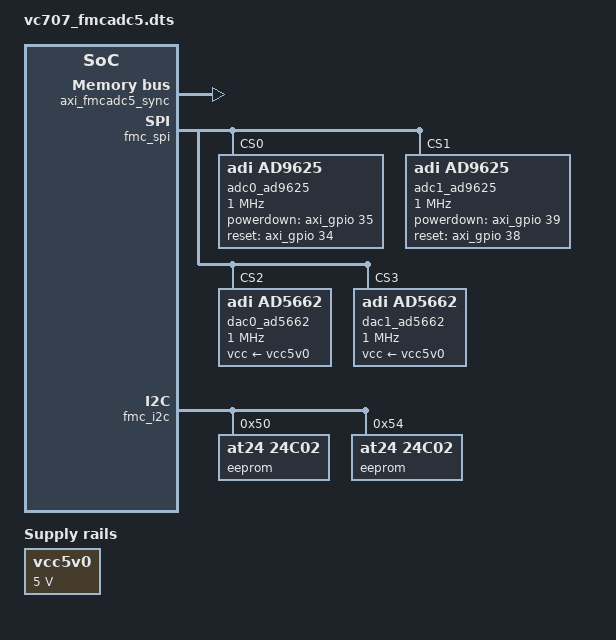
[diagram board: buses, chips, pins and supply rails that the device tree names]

/dts-v1/;
#include "vc707.dtsi"

#define fmc_i2c fmc1_hpc_iic
#define fmc_spi axi_spi

/ {
	clocks {
		ad9625_clkin: clock@0 {
			#clock-cells = <0>;
			compatible = "fixed-clock";
			clock-frequency = <2500000000>;
			clock-output-names = "clkin";
		};

		ad9625_divclk: clock@1 {
			compatible = "fixed-factor-clock";

			clocks = <&ad9625_clkin>;
			clock-div = <4>;
			clock-mult = <1>;

			#clock-cells = <0>;
			clock-output-names = "divclk";
		};
	};

	vcc5v0: fixedregulator@0 {
		compatible = "regulator-fixed";
		regulator-name = "fixed-5.0V";
		regulator-min-microvolt = <5000000>;
		regulator-max-microvolt = <5000000>;
		regulator-boot-on;
		regulator-always-on;
	};
};

&amba_pl {
	axi_fmcadc5_sync: axi-fmcadc5-sync@44a20000 {
		compatible = "adi,axi-fmcadc5-sync-1.0";
		reg = <0x44a20000 0x10000>;
		adi,ad9625-device-select-0 = <1>;
		adi,ad9625-device-select-1 = <2>;
	};
	axi_ad9625_0_core: axi-ad9625-0@44a10000 {
		compatible = "adi,axi-ad9625-1.0";
		reg = <0x44a10000 0x10000>;
		dmas = <&axi_ad9625_dma 0>;
		dma-names = "rx";
		spibus-connected = <&adc0_ad9625>;
	};
	axi_ad9625_0_jesd: axi-jesd204-0-rx@44a90000 {
		compatible = "adi,axi-jesd204-rx-1.0";
		reg = <0x44a90000 0x10000>;
		interrupt-parent = <&axi_intc>;
		interrupts = <13 2>;
		clocks = <&clk_bus_0>, <&axi_ad9625_0_adxcvr 1>, <&axi_ad9625_0_adxcvr 0>;
		clock-names = "s_axi_aclk", "device_clk", "lane_clk";

		adi,octets-per-frame = <1>;
		adi,frames-per-multiframe = <32>;
		adi,high-density = <1>;

		#clock-cells = <0>;
		clock-output-names = "jesd_adc_lane_clk_0";
	};
	axi_ad9625_0_adxcvr: axi-ad9625-0-adxcvr@44a60000 {
		compatible = "adi,axi-adxcvr-1.0";
		reg = <0x44a60000 0x10000>;
		clocks = <&ad9625_divclk>;
		clock-names = "conv";

		#clock-cells = <1>;
		clock-output-names = "ad50_gt_clk", "rx_out0_clk";

		adi,sys-clk-select = <0>;
		adi,out-clk-select = <2>;
		adi,use-cpll-enable;
		adi,use-lpm-enable;
	};
	axi_ad9625_1_core: axi-ad9625-1@44b10000 {
		compatible = "adi,axi-ad9625-1.0";
		reg = <0x44b10000 0x10000>;
		spibus-connected = <&adc1_ad9625>;
	};
	axi_ad9625_1_jesd: axi-jesd204-1-rx@44b90000 {
		compatible = "adi,axi-jesd204-rx-1.0";
		reg = <0x44b90000 0x10000>;
		interrupt-parent = <&axi_intc>;
		interrupts = <14 2>;
		clocks = <&clk_bus_0>, <&axi_ad9625_1_adxcvr 1>, <&axi_ad9625_1_adxcvr 0>;
		clock-names = "s_axi_aclk", "device_clk", "lane_clk";

		adi,octets-per-frame = <1>;
		adi,frames-per-multiframe = <32>;
		adi,high-density = <1>;

		#clock-cells = <0>;
		clock-output-names = "jesd_adc_lane_clk_1";
	};
	axi_ad9625_1_adxcvr: axi-ad9625-1-adxcvr@44b60000 {
		compatible = "adi,axi-adxcvr-1.0";
		reg = <0x44b60000 0x10000>;
		clocks = <&ad9625_divclk>;
		clock-names = "conv";

		#clock-cells = <1>;
		clock-output-names = "adc1_gt_clk", "rx_out1_clk";

		adi,sys-clk-select = <0>;
		adi,out-clk-select = <2>;
		adi,use-cpll-enable;
		adi,use-lpm-enable;
	};
	axi_ad9625_dma: axi_dmac@7c420000 {
		compatible = "adi,axi-dmac-1.00.a";
		interrupt-parent = <&axi_intc>;
		interrupts = <12 2>;
		reg = <0x7c420000 0x10000>;
		#dma-cells = <1>;
		clocks = <&clk_bus_0>;

		adi,channels {
			#size-cells = <0>;
			#address-cells = <1>;

			dma-channel@0 {
				reg = <0>;
				adi,source-bus-width = <64>;
				adi,source-bus-type = <1>;
				adi,destination-bus-width = <64>;
				adi,destination-bus-type = <0>;
			};
		};
	};
};

&fmc_spi {
	adc0_ad9625: ad9625@0 {
		#address-cells = <1>;
		#size-cells = <0>;
		compatible = "adi,ad9625";
		reg = <0>;
		spi-max-frequency = <1000000>;
		clocks = <&axi_ad9625_0_jesd>, <&ad9625_clkin>;
		clock-names = "jesd_adc_clk", "adc_clk";
		powerdown-gpios = <&axi_gpio 35 8>;
		reset-gpios = <&axi_gpio 34 8>;

	};
	adc1_ad9625: ad9625@1 {
		#address-cells = <1>;
		#size-cells = <0>;
		compatible = "adi,ad9625";
		reg = <1>;
		spi-max-frequency = <1000000>;
		clocks = <&axi_ad9625_1_jesd>, <&ad9625_clkin>;
		clock-names = "jesd_adc_clk", "adc_clk";
		powerdown-gpios = <&axi_gpio 39 8>;
		reset-gpios = <&axi_gpio 38 8>;
	};

	dac0_ad5662: ad5662-vt-a@2 {
		#address-cells = <1>;
		#size-cells = <0>;
		compatible = "adi,ad5662";
		reg = <2>;
		spi-cpha;
		spi-max-frequency = <1000000>;
		vcc-supply = <&vcc5v0>;
	};

	dac1_ad5662: ad5662-vt-b@3 {
		#address-cells = <1>;
		#size-cells = <0>;
		compatible = "adi,ad5662";
		reg = <3>;
		spi-cpha;
		spi-max-frequency = <1000000>;
		vcc-supply = <&vcc5v0>;
	};
};

&fmc_i2c {
	eeprom@50 {
		compatible = "at24,24c02";
		reg = <0x50>;
	};

	eeprom@54 {
		compatible = "at24,24c02";
		reg = <0x54>;
	};
};
